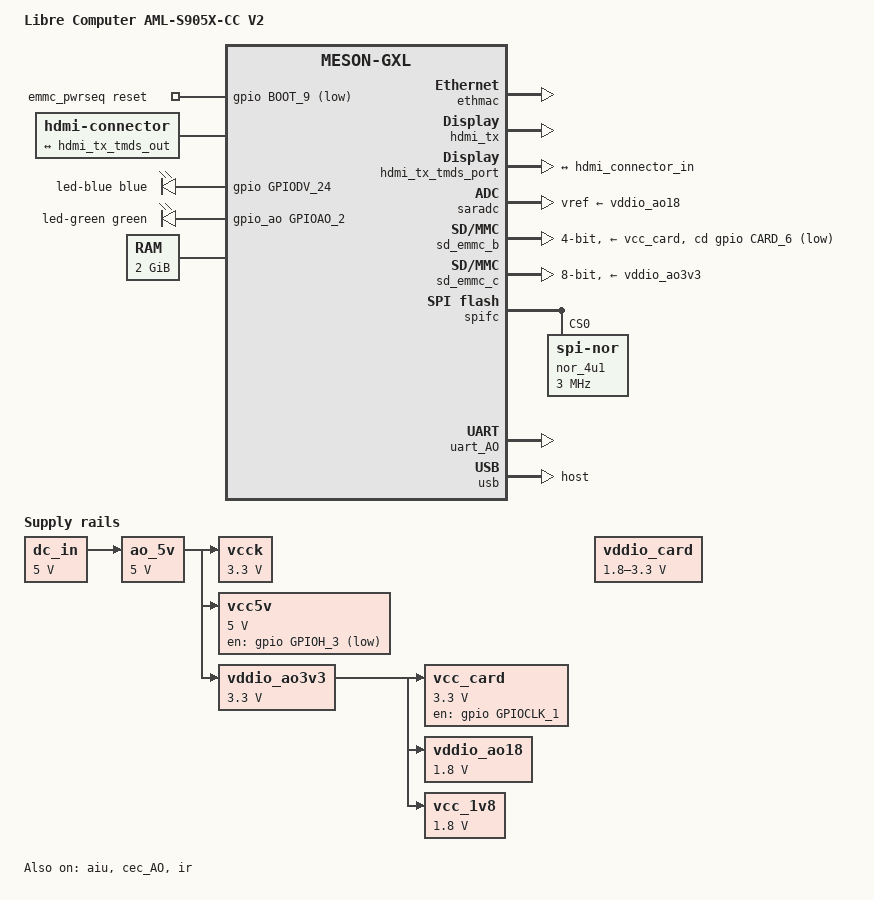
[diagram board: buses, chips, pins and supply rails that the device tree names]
// SPDX-License-Identifier: (GPL-2.0+ OR MIT)
/*
 * Copyright (c) 2020 BayLibre, SAS.
 * Author: Jerome Brunet <jbrunet@baylibre.com>
 */

/dts-v1/;

#include <dt-bindings/input/input.h>
#include <dt-bindings/leds/common.h>
#include <dt-bindings/sound/meson-aiu.h>

#include "meson-gxl-s905x.dtsi"

/ {
	compatible = "libretech,aml-s905x-cc-v2", "amlogic,s905x",
		     "amlogic,meson-gxl";
	model = "Libre Computer AML-S905X-CC V2";

	aliases {
		serial0 = &uart_AO;
		ethernet0 = &ethmac;
		spi0 = &spifc;
	};

	chosen {
		stdout-path = "serial0:115200n8";
	};

	emmc_pwrseq: emmc-pwrseq {
		compatible = "mmc-pwrseq-emmc";
		reset-gpios = <&gpio BOOT_9 GPIO_ACTIVE_LOW>;
	};

	hdmi-connector {
		compatible = "hdmi-connector";
		type = "a";

		port {
			hdmi_connector_in: endpoint {
				remote-endpoint = <&hdmi_tx_tmds_out>;
			};
		};
	};

	leds {
		compatible = "gpio-leds";

		led-blue {
			color = <LED_COLOR_ID_BLUE>;
			function = LED_FUNCTION_STATUS;
			gpios = <&gpio GPIODV_24 GPIO_ACTIVE_HIGH>;
			linux,default-trigger = "heartbeat";
			panic-indicator;
		};

		led-green {
			color = <LED_COLOR_ID_GREEN>;
			function = LED_FUNCTION_DISK_ACTIVITY;
			gpios = <&gpio_ao GPIOAO_2 GPIO_ACTIVE_HIGH>;
			linux,default-trigger = "disk-activity";
		};
	};

	memory@0 {
		device_type = "memory";
		reg = <0x0 0x0 0x0 0x80000000>;
	};

	ao_5v: regulator-ao_5v {
		compatible = "regulator-fixed";
		regulator-name = "AO_5V";
		regulator-min-microvolt = <5000000>;
		regulator-max-microvolt = <5000000>;
		vin-supply = <&dc_in>;
		regulator-always-on;
	};

	dc_in: regulator-dc_in {
		compatible = "regulator-fixed";
		regulator-name = "DC_IN";
		regulator-min-microvolt = <5000000>;
		regulator-max-microvolt = <5000000>;
		regulator-always-on;
	};

	vcck: regulator-vcck {
		compatible = "regulator-fixed";
		regulator-name = "VCCK";
		regulator-min-microvolt = <3300000>;
		regulator-max-microvolt = <3300000>;
		vin-supply = <&ao_5v>;
		regulator-always-on;
	};

	vcc_card: regulator-vcc_card {
		compatible = "regulator-fixed";
		regulator-name = "VCC_CARD";
		regulator-min-microvolt = <3300000>;
		regulator-max-microvolt = <3300000>;
		vin-supply = <&vddio_ao3v3>;

		gpio = <&gpio GPIOCLK_1 GPIO_ACTIVE_HIGH>;
		enable-active-high;
	};

	vcc5v: regulator-vcc5v {
		compatible = "regulator-fixed";
		regulator-name = "VCC5V";
		regulator-min-microvolt = <5000000>;
		regulator-max-microvolt = <5000000>;
		vin-supply = <&ao_5v>;

		gpio = <&gpio GPIOH_3 GPIO_OPEN_DRAIN>;
	};

	vddio_ao3v3: regulator-vddio_ao3v3 {
		compatible = "regulator-fixed";
		regulator-name = "VDDIO_AO3V3";
		regulator-min-microvolt = <3300000>;
		regulator-max-microvolt = <3300000>;
		vin-supply = <&ao_5v>;
		regulator-always-on;
	};

	vddio_card: regulator-vddio-card {
		compatible = "regulator-gpio";
		regulator-name = "VDDIO_CARD";
		regulator-min-microvolt = <1800000>;
		regulator-max-microvolt = <3300000>;

		gpios = <&gpio_ao GPIOAO_3 GPIO_ACTIVE_HIGH>;
		gpios-states = <0>;

		states = <3300000 0>,
			 <1800000 1>;

		regulator-settling-time-up-us = <200>;
		regulator-settling-time-down-us = <50000>;
	};

	vddio_ao18: regulator-vddio_ao18 {
		compatible = "regulator-fixed";
		regulator-name = "VDDIO_AO18";
		regulator-min-microvolt = <1800000>;
		regulator-max-microvolt = <1800000>;
		vin-supply = <&vddio_ao3v3>;
		regulator-always-on;
	};

	vcc_1v8: regulator-vcc_1v8 {
		compatible = "regulator-fixed";
		regulator-name = "VCC 1V8";
		regulator-min-microvolt = <1800000>;
		regulator-max-microvolt = <1800000>;
		vin-supply = <&vddio_ao3v3>;
		regulator-always-on;
	};

	sound {
		compatible = "amlogic,gx-sound-card";
		model = "GXL-LIBRETECH-S905X-CC-V2";
		assigned-clocks = <&clkc CLKID_MPLL0>,
				  <&clkc CLKID_MPLL1>,
				  <&clkc CLKID_MPLL2>;
		assigned-clock-parents = <0>, <0>, <0>;
		assigned-clock-rates = <294912000>,
				       <270950400>,
				       <393216000>;
		status = "okay";

		dai-link-0 {
			sound-dai = <&aiu AIU_CPU CPU_I2S_FIFO>;
		};

		dai-link-1 {
			sound-dai = <&aiu AIU_CPU CPU_I2S_ENCODER>;
			dai-format = "i2s";
			mclk-fs = <256>;

			codec-0 {
				sound-dai = <&aiu AIU_HDMI CTRL_I2S>;
			};
		};

		dai-link-2 {
			sound-dai = <&aiu AIU_HDMI CTRL_OUT>;

			codec-0 {
				sound-dai = <&hdmi_tx>;
			};
		};
	};
};

&aiu {
	status = "okay";
};

&cec_AO {
	status = "okay";
	pinctrl-0 = <&ao_cec_pins>;
	pinctrl-names = "default";
	hdmi-phandle = <&hdmi_tx>;
};

&ethmac {
	status = "okay";
};

&internal_phy {
	pinctrl-0 = <&eth_link_led_pins>, <&eth_act_led_pins>;
	pinctrl-names = "default";
};

&ir {
	status = "okay";
	pinctrl-0 = <&remote_input_ao_pins>;
	pinctrl-names = "default";
};

&hdmi_tx {
	status = "okay";
	pinctrl-0 = <&hdmi_hpd_pins>, <&hdmi_i2c_pins>;
	hdmi-supply = <&vcc5v>;
	pinctrl-names = "default";
};

&hdmi_tx_tmds_port {
	hdmi_tx_tmds_out: endpoint {
		remote-endpoint = <&hdmi_connector_in>;
	};
};

&saradc {
	status = "okay";
	vref-supply = <&vddio_ao18>;
};

/* SD card */
&sd_emmc_b {
	pinctrl-0 = <&sdcard_pins>;
	pinctrl-1 = <&sdcard_clk_gate_pins>;
	pinctrl-names = "default", "clk-gate";

	bus-width = <4>;
	cap-sd-highspeed;
	sd-uhs-sdr12;
	sd-uhs-sdr25;
	sd-uhs-sdr50;
	sd-uhs-ddr50;
	max-frequency = <100000000>;
	disable-wp;

	cd-gpios = <&gpio CARD_6 GPIO_ACTIVE_LOW>;

	vmmc-supply = <&vcc_card>;
	vqmmc-supply = <&vddio_card>;

	status = "okay";
};

/* eMMC */
&sd_emmc_c {
	pinctrl-0 = <&emmc_pins>;
	pinctrl-1 = <&emmc_clk_gate_pins>;
	pinctrl-names = "default", "clk-gate";

	bus-width = <8>;
	cap-mmc-highspeed;
	mmc-hs200-1_8v;
	max-frequency = <200000000>;
	disable-wp;

	mmc-pwrseq = <&emmc_pwrseq>;
	vmmc-supply = <&vddio_ao3v3>;
	vqmmc-supply = <&vcc_1v8>;

	status = "okay";
};

&spifc {
	status = "okay";
	pinctrl-0 = <&nor_pins>;
	pinctrl-names = "default";

	nor_4u1: spi-flash@0 {
		#address-cells = <1>;
		#size-cells = <1>;
		compatible = "jedec,spi-nor";
		reg = <0>;
		spi-max-frequency = <3000000>;
	};
};

&uart_AO {
	status = "okay";
	pinctrl-0 = <&uart_ao_a_pins>;
	pinctrl-names = "default";
};

&usb {
	status = "okay";
	dr_mode = "host";
};

&usb2_phy0 {
	pinctrl-names = "default";
	phy-supply = <&vcc5v>;
};

&usb2_phy1 {
	phy-supply = <&vcc5v>;
};
